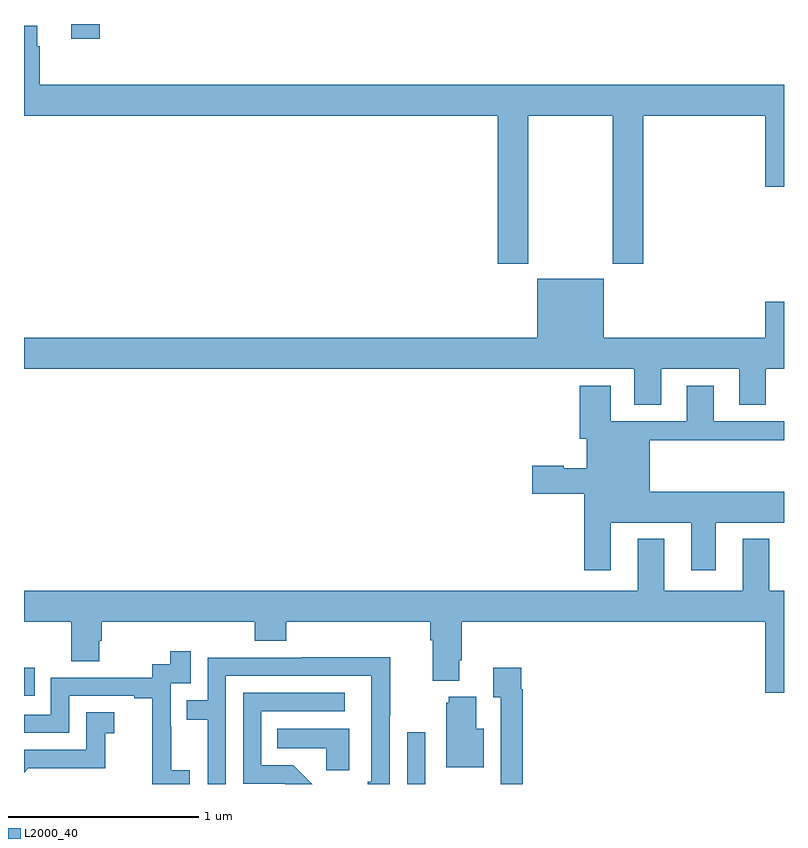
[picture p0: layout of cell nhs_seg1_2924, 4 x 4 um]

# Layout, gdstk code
import gdstk
lib = gdstk.Library(unit=1e-6, precision=1e-09)
def R(c, l, rs):  # rectangles x0, y0, x1, y1
    for r in rs: c.add(gdstk.rectangle(r[:2], r[2:], *l))
def P(c, l, *ps):  # polygons
    for p in ps: c.add(gdstk.Polygon(p, *l))
L2000_40 = (2000, 40)

nhs_seg1_2924 = lib.new_cell('nhs_seg1_2924')
R(nhs_seg1_2924, L2000_40, [(271.017,564.199,271.113,564.472), (269,564.663,269.057,564.811), (269.249,568.122,269.398,568.199)])
P(nhs_seg1_2924, L2000_40, [(271.653,567.716),(272.098,567.716),(272.098,566.937),(272.258,566.937),(272.258,567.716),(272.9,567.716),(272.9,567.342),(273,567.342),(273,567.88),(269.084,567.88),(269.084,568.082),(269.071,568.082),(269.071,568.189),(269,568.189),(269,567.716),(271.493,567.716),(271.493,566.937),(271.653,566.937)],
  [(272.353,566.384),(272.765,566.384),(272.765,566.194),(272.905,566.194),(272.905,566.384),(273,566.384),(273,566.737),(272.9,566.737),(272.9,566.548),(272.05,566.548),(272.05,566.857),(271.7,566.857),(271.7,566.548),(269,566.548),(269,566.384),(272.213,566.384),(272.213,566.194),(272.353,566.194)],
  [(272.089,565.574),(272.513,565.574),(272.513,565.323),(272.641,565.323),(272.641,565.574),(273,565.574),(273,565.738),(272.293,565.738),(272.293,566.008),(273,566.008),(273,566.109),(272.629,566.109),(272.629,566.296),(272.489,566.296),(272.489,566.109),(272.089,566.109),(272.089,566.296),(271.925,566.296),(271.925,566.016),(271.961,566.016),(271.961,565.861),(271.841,565.861),(271.841,565.874),(271.674,565.874),(271.674,565.727),(271.949,565.727),(271.949,565.323),(272.089,565.323)],
  [(273,565.216),(272.923,565.216),(272.923,565.489),(272.783,565.489),(272.783,565.216),(272.371,565.216),(272.371,565.489),(272.231,565.489),(272.231,565.216),(269,565.216),(269,565.052),(269.248,565.052),(269.248,564.844),(269.395,564.844),(269.395,564.954),(269.408,564.954),(269.408,565.052),(270.215,565.052),(270.215,564.953),(270.38,564.953),(270.38,565.052),(271.139,565.052),(271.139,564.956),(271.151,564.956),(271.151,564.743),(271.291,564.743),(271.291,564.85),(271.304,564.85),(271.304,565.052),(272.9,565.052),(272.9,564.678),(273,564.678)],
  [(269.872,564.271),(269.774,564.271),(269.774,564.5),(269.772,564.5),(269.772,564.729),(269.877,564.729),(269.877,564.898),(269.769,564.898),(269.769,564.828),(269.676,564.828),(269.676,564.759),(269.142,564.759),(269.142,564.564),(269,564.564),(269,564.468),(269.238,564.468),(269.238,564.663),(269.579,564.663),(269.579,564.651),(269.675,564.651),(269.675,564.367),(269.674,564.367),(269.674,564.199),(269.872,564.199)],
  [(270.063,564.768),(270.828,564.768),(270.828,564.21),(270.809,564.21),(270.809,564.199),(270.924,564.199),(270.924,564.559),(270.927,564.559),(270.927,564.866),(270.463,564.866),(270.463,564.864),(269.967,564.864),(269.967,564.639),(269.857,564.639),(269.857,564.538),(269.967,564.538),(269.967,564.199),(270.063,564.199)],
  [(271.625,564.698),(271.618,564.698),(271.618,564.811),(271.469,564.811),(271.469,564.655),(271.509,564.655),(271.509,564.199),(271.625,564.199)],
  [(270.418,564.297),(270.249,564.297),(270.249,564.582),(270.688,564.582),(270.688,564.678),(270.153,564.678),(270.153,564.201),(270.372,564.201),(270.374,564.199),(270.516,564.199)],
  [(271.42,564.49),(271.381,564.49),(271.381,564.658),(271.235,564.658),(271.235,564.627),(271.223,564.627),(271.223,564.287),(271.42,564.287)],
  [(269.023,564.282),(269.427,564.282),(269.427,564.467),(269.476,564.467),(269.476,564.577),(269.328,564.577),(269.328,564.378),(269,564.378),(269,564.259)],
  [(270.712,564.49),(270.334,564.49),(270.334,564.386),(270.591,564.386),(270.591,564.271),(270.712,564.271)])

lib.write_gds('nhs_seg1_2924.gds')
